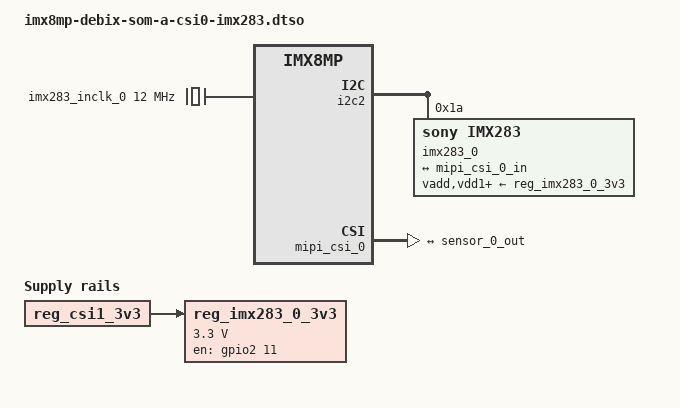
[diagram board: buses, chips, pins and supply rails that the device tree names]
// SPDX-License-Identifier: (GPL-2.0+ OR MIT)
/*
 * Copyright 2023 Ideas on Board Oy
 */

/dts-v1/;
/plugin/;

#include <dt-bindings/gpio/gpio.h>

#include "imx8mp-debix-som-a-csi0.dtsi"

&{/} {
	/* 12 MHz Crystal on the camera module */
	imx283_inclk_0: imx283_inclk_12mm {
		compatible = "fixed-clock";
		#clock-cells = <0>;
		status = "okay";
		clock-frequency = <12000000>;
	};

	reg_imx283_0_3v3: regulator-imx283-0-vdd3v3 {
		compatible = "regulator-fixed";
		pinctrl-names = "default";
		pinctrl-0 = <&pinctrl_csi0_pwdn>;
		regulator-min-microvolt = <3300000>;
		regulator-max-microvolt = <3300000>;
		regulator-name = "IMX283_0_POWER_EN";
		gpio = <&gpio2 11 GPIO_ACTIVE_HIGH>;
		vin-supply = <&reg_csi1_3v3>;
		startup-delay-us = <300000>;
		enable-active-high;
	};
};

&i2c2 {
	imx283_0: sensor@1a {
		compatible = "sony,imx283";
		reg = <0x1a>;

		clocks = <&imx283_inclk_0>;
		clock-names = "xclk";

		rotation = <180>;
		orientation = <0>;

		status = "okay";

		/* Arducam IMX283 module uses *only* the 3v3 line */
		vadd-supply = <&reg_imx283_0_3v3>;
		vdd1-supply = <&reg_imx283_0_3v3>;
		vdd2-supply = <&reg_imx283_0_3v3>;

		port {
			sensor_0_out: endpoint {
				remote-endpoint = <&mipi_csi_0_in>;
				clock-lanes = <0>;
				data-lanes = <1 2 3 4>;
				link-frequencies = /bits/ 64 <360000000>;
			};
		};
	};
};

&mipi_csi_0 {
	status = "okay";

	ports {
		port@0 {
			mipi_csi_0_in: endpoint {
				remote-endpoint = <&sensor_0_out>;
				clock-lanes = <0>;
				data-lanes = <1 2 3 4>;
			};
		};
	};
};

